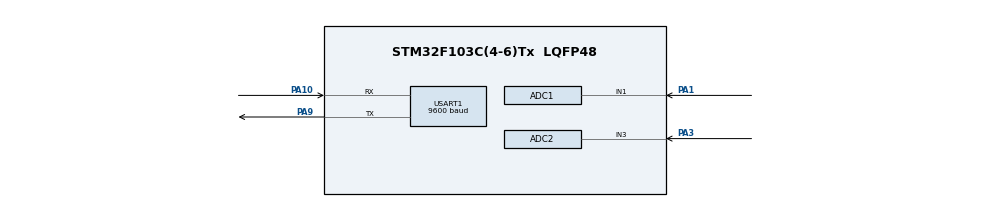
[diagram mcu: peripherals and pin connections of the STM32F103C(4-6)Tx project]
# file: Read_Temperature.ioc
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ADC1.Channel-0\#ChannelRegularConversion=ADC_CHANNEL_1
ADC1.ContinuousConvMode=ENABLE
ADC1.NbrOfConversion=1
ADC1.NbrOfConversionFlag=1
ADC1.SamplingTime-0\#ChannelRegularConversion=ADC_SAMPLETIME_71CYCLES_5
ADC1.master=1
ADC2.Channel-0\#ChannelRegularConversion=ADC_CHANNEL_3
ADC2.ContinuousConvMode=DISABLE
ADC2.NbrOfConversionFlag=1
ADC2.Rank-0\#ChannelRegularConversion=1
ADC2.SamplingTime-0\#ChannelRegularConversion=ADC_SAMPLETIME_71CYCLES_5
Mcu.Family=STM32F1
Mcu.Name=STM32F103C(4-6)Tx
Mcu.Package=LQFP48
NVIC.ADC1_2_IRQn=true\:0\:0\:false\:false\:true\:true\:true
NVIC.PriorityGroup=NVIC_PRIORITYGROUP_4
NVIC.USART1_IRQn=true\:0\:0\:false\:false\:true\:true\:true
PA1.Signal=ADCx_IN1
PA10.Mode=Asynchronous
PA10.Signal=USART1_RX
PA13.Mode=Serial_Wire
PA13.Signal=SYS_JTMS-SWDIO
PA14.Mode=Serial_Wire
PA14.Signal=SYS_JTCK-SWCLK
PA3.Signal=ADCx_IN3
PA9.Mode=Asynchronous
PA9.Signal=USART1_TX
ProjectManager.HeapSize=0x200
ProjectManager.StackSize=0x400
ProjectManager.TargetToolchain=MDK-ARM V5.32
RCC.APB1Freq_Value=8000000
RCC.APB2Freq_Value=8000000
SH.ADCx_IN1.0=ADC1_IN1,IN1
SH.ADCx_IN3.0=ADC2_IN3,IN3
USART1.BaudRate=9600
USART1.VirtualMode=VM_ASYNC
board=custom

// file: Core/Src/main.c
/* USER CODE BEGIN Header */
/**
  ******************************************************************************
  * @file           : main.c
  * @brief          : Main program body
  ******************************************************************************
  * @attention
  *
  * Copyright (c) 2022 STMicroelectronics.
  * All rights reserved.
  *
  * This software is licensed under terms that can be found in the LICENSE file
  * in the root directory of this software component.
  * If no LICENSE file comes with this software, it is provided AS-IS.
  *
  ******************************************************************************
  */
/* USER CODE END Header */
#include "main.h"

/* USER CODE BEGIN Includes */
#include "string.h"
#include "stdio.h"
#include "math.h"

/* USER CODE END Includes */

ADC_HandleTypeDef hadc1;
ADC_HandleTypeDef hadc2;

UART_HandleTypeDef huart1;

void SystemClock_Config(void);
static void MX_GPIO_Init(void);
static void MX_ADC1_Init(void);
static void MX_USART1_UART_Init(void);
static void MX_ADC2_Init(void);

/* USER CODE BEGIN 0 */

/*** ADC_DATA   ***/

uint16_t ADC_VAL_1;
uint16_t ADC_VAL_2;
uint32_t flag = 0 ;
float temp1 = 0;

/* USER CODE END 0 */

int main(void)
{
  /* USER CODE BEGIN 1 */
	uint16_t AD_RES = 0;
	float temp = 0;

  char str[100] ;
  /* USER CODE END 1 */

  /* MCU Configuration--------------------------------------------------------*/

  /* Reset of all peripherals, Initializes the Flash interface and the Systick. */
  HAL_Init();

  /* Configure the system clock */
  SystemClock_Config();

  /* Initialize all configured peripherals */
  MX_GPIO_Init();
  MX_ADC1_Init();
  MX_USART1_UART_Init();
  MX_ADC2_Init();
  /* USER CODE BEGIN 2 */
	HAL_ADCEx_Calibration_Start(&hadc1);
	HAL_ADC_Start_IT(&hadc2);

  /* USER CODE END 2 */

  /* Infinite loop */
  while (1)
  {

    /* USER CODE BEGIN 3 */
		HAL_ADC_Start(&hadc1);
		HAL_ADC_PollForConversion(&hadc1,10);
	  ADC_VAL_1	= HAL_ADC_GetValue(&hadc1);

		if(flag == 1){
			temp = ((float)ADC_VAL_1/4096)*3.3/(0.005) ;
			temp1 = ((float)ADC_VAL_2/4096)*3.3/(0.01);
			sprintf(str,"Nhiet do Nong:%f, Nhiet do lanh: %f\r\n\n" ,temp, temp1);
			HAL_UART_Transmit(&huart1, (uint8_t *)str , sizeof(str),50);
			flag = 0;
		}
		HAL_Delay(1000);
  }
  /* USER CODE END 3 */
}

void SystemClock_Config(void)
{
  RCC_OscInitTypeDef RCC_OscInitStruct = {0};
  RCC_ClkInitTypeDef RCC_ClkInitStruct = {0};
  RCC_PeriphCLKInitTypeDef PeriphClkInit = {0};

  /** Initializes the RCC Oscillators according to the specified parameters
  * in the RCC_OscInitTypeDef structure.
  */
  RCC_OscInitStruct.OscillatorType = RCC_OSCILLATORTYPE_HSI;
  RCC_OscInitStruct.HSIState = RCC_HSI_ON;
  RCC_OscInitStruct.HSICalibrationValue = RCC_HSICALIBRATION_DEFAULT;
  RCC_OscInitStruct.PLL.PLLState = RCC_PLL_NONE;
  if (HAL_RCC_OscConfig(&RCC_OscInitStruct) != HAL_OK)
  {
    Error_Handler();
  }
  /** Initializes the CPU, AHB and APB buses clocks
  */
  RCC_ClkInitStruct.ClockType = RCC_CLOCKTYPE_HCLK|RCC_CLOCKTYPE_SYSCLK
                              |RCC_CLOCKTYPE_PCLK1|RCC_CLOCKTYPE_PCLK2;
  RCC_ClkInitStruct.SYSCLKSource = RCC_SYSCLKSOURCE_HSI;
  RCC_ClkInitStruct.AHBCLKDivider = RCC_SYSCLK_DIV1;
  RCC_ClkInitStruct.APB1CLKDivider = RCC_HCLK_DIV1;
  RCC_ClkInitStruct.APB2CLKDivider = RCC_HCLK_DIV1;

  if (HAL_RCC_ClockConfig(&RCC_ClkInitStruct, FLASH_LATENCY_0) != HAL_OK)
  {
    Error_Handler();
  }
  PeriphClkInit.PeriphClockSelection = RCC_PERIPHCLK_ADC;
  PeriphClkInit.AdcClockSelection = RCC_ADCPCLK2_DIV2;
  if (HAL_RCCEx_PeriphCLKConfig(&PeriphClkInit) != HAL_OK)
  {
    Error_Handler();
  }
}

static void MX_ADC1_Init(void)
{

  ADC_ChannelConfTypeDef sConfig = {0};

  /** Common config
  */
  hadc1.Instance = ADC1;
  hadc1.Init.ScanConvMode = ADC_SCAN_DISABLE;
  hadc1.Init.ContinuousConvMode = ENABLE;
  hadc1.Init.DiscontinuousConvMode = DISABLE;
  hadc1.Init.ExternalTrigConv = ADC_SOFTWARE_START;
  hadc1.Init.DataAlign = ADC_DATAALIGN_RIGHT;
  hadc1.Init.NbrOfConversion = 1;
  if (HAL_ADC_Init(&hadc1) != HAL_OK)
  {
    Error_Handler();
  }
  /** Configure Regular Channel
  */
  sConfig.Channel = ADC_CHANNEL_1;
  sConfig.Rank = ADC_REGULAR_RANK_1;
  sConfig.SamplingTime = ADC_SAMPLETIME_71CYCLES_5;
  if (HAL_ADC_ConfigChannel(&hadc1, &sConfig) != HAL_OK)
  {
    Error_Handler();
  }

}

static void MX_ADC2_Init(void)
{

  ADC_ChannelConfTypeDef sConfig = {0};

  /** Common config
  */
  hadc2.Instance = ADC2;
  hadc2.Init.ScanConvMode = ADC_SCAN_DISABLE;
  hadc2.Init.ContinuousConvMode = DISABLE;
  hadc2.Init.DiscontinuousConvMode = DISABLE;
  hadc2.Init.ExternalTrigConv = ADC_SOFTWARE_START;
  hadc2.Init.DataAlign = ADC_DATAALIGN_RIGHT;
  hadc2.Init.NbrOfConversion = 1;
  if (HAL_ADC_Init(&hadc2) != HAL_OK)
  {
    Error_Handler();
  }
  /** Configure Regular Channel
  */
  sConfig.Channel = ADC_CHANNEL_3;
  sConfig.Rank = ADC_REGULAR_RANK_1;
  sConfig.SamplingTime = ADC_SAMPLETIME_71CYCLES_5;
  if (HAL_ADC_ConfigChannel(&hadc2, &sConfig) != HAL_OK)
  {
    Error_Handler();
  }

}

static void MX_USART1_UART_Init(void)
{

  huart1.Instance = USART1;
  huart1.Init.BaudRate = 9600;
  huart1.Init.WordLength = UART_WORDLENGTH_8B;
  huart1.Init.StopBits = UART_STOPBITS_1;
  huart1.Init.Parity = UART_PARITY_NONE;
  huart1.Init.Mode = UART_MODE_TX_RX;
  huart1.Init.HwFlowCtl = UART_HWCONTROL_NONE;
  huart1.Init.OverSampling = UART_OVERSAMPLING_16;
  if (HAL_UART_Init(&huart1) != HAL_OK)
  {
    Error_Handler();
  }

}

static void MX_GPIO_Init(void)
{

  /* GPIO Ports Clock Enable */
  __HAL_RCC_GPIOA_CLK_ENABLE();

}

/* USER CODE BEGIN 4 */
void HAL_ADC_ConvCpltCallback(ADC_HandleTypeDef* hadc)
{
    if(hadc->Instance == ADC2)
		{
			ADC_VAL_2 = HAL_ADC_GetValue(&hadc2);
			flag = 1 ;
			HAL_ADC_Start_IT(&hadc2);
		}
}

/* USER CODE END 4 */

void Error_Handler(void)
{
  __disable_irq();
  while (1)
  {
  }
}
